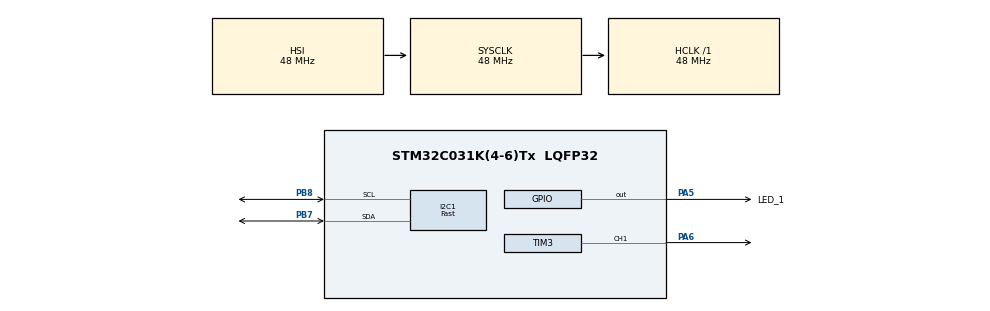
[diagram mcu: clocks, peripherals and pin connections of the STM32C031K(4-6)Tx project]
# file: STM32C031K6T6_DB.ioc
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Dma.Request0=TIM3_CH1
Dma.TIM3_CH1.0.Direction=DMA_PERIPH_TO_MEMORY
Dma.TIM3_CH1.0.EventEnable=DISABLE
Dma.TIM3_CH1.0.Instance=DMA1_Channel1
Dma.TIM3_CH1.0.MemDataAlignment=DMA_MDATAALIGN_HALFWORD
Dma.TIM3_CH1.0.MemInc=DMA_MINC_ENABLE
Dma.TIM3_CH1.0.Mode=DMA_NORMAL
Dma.TIM3_CH1.0.PeriphDataAlignment=DMA_PDATAALIGN_HALFWORD
Dma.TIM3_CH1.0.PeriphInc=DMA_PINC_DISABLE
Dma.TIM3_CH1.0.Polarity=HAL_DMAMUX_REQ_GEN_RISING
Dma.TIM3_CH1.0.Priority=DMA_PRIORITY_LOW
Dma.TIM3_CH1.0.RequestNumber=1
Dma.TIM3_CH1.0.SignalID=NONE
Dma.TIM3_CH1.0.SyncEnable=DISABLE
Dma.TIM3_CH1.0.SyncPolarity=HAL_DMAMUX_SYNC_NO_EVENT
Dma.TIM3_CH1.0.SyncRequestNumber=1
Dma.TIM3_CH1.0.SyncSignalID=NONE
I2C1.I2C_Speed_Mode=I2C_Fast
I2C1.Timing=0x0090194B
Mcu.Family=STM32C0
Mcu.Name=STM32C031K(4-6)Tx
Mcu.Package=LQFP32
NVIC.DMA1_Channel1_IRQn=true\:0\:0\:false\:false\:true\:false\:true\:true
PA13.Mode=Serial_Wire
PA13.Signal=DEBUG_SWDIO
PA14-BOOT0.Mode=Serial_Wire
PA14-BOOT0.Signal=DEBUG_SWCLK
PA5.GPIO_Label=LED_1
PA5.Signal=GPIO_Output
PA6.Signal=S_TIM3_CH1
PB7.Mode=I2C
PB7.Signal=I2C1_SDA
PB8.Mode=I2C
PB8.Signal=I2C1_SCL
ProjectManager.HeapSize=0x200
ProjectManager.StackSize=0x400
ProjectManager.TargetToolchain=STM32CubeIDE
RCC.ADCFreq_Value=48000000
RCC.AHBFreq_Value=48000000
RCC.CortexFreq_Value=48000000
RCC.EXTERNAL_CLOCK_VALUE=12288000
RCC.HCLKFreq_Value=48000000
RCC.HSE_VALUE=8000000
RCC.HSISYSCLKDivider=RCC_HSI_DIV1
RCC.HSI_VALUE=48000000
RCC.LSE_VALUE=32768
RCC.SYSCLKFreq_VALUE=48000000
SH.S_TIM3_CH1.0=TIM3_CH1,PWM Generation1 CH1
TIM3.Channel-PWM\ Generation1\ CH1=TIM_CHANNEL_1
TIM3.Period=40-1
TIM3.Prescaler=48-1
VP_TIM3_VS_ClockSourceINT.Mode=Internal
board=custom

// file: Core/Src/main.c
/* USER CODE BEGIN Header */
/**
  ******************************************************************************
  * @file           : main.c
  * @brief          : Main program body
  ******************************************************************************
  * @attention
  *
  * Copyright (c) 2025 STMicroelectronics.
  * All rights reserved.
  *
  * This software is licensed under terms that can be found in the LICENSE file
  * in the root directory of this software component.
  * If no LICENSE file comes with this software, it is provided AS-IS.
  *
  ******************************************************************************
  */
/* USER CODE END Header */
#include "main.h"
#include <stdint.h>
#include <stdbool.h>
#include <stdlib.h>
#include <stdio.h>
/* USER CODE BEGIN Includes */
#include "ADS1015_ADS1115.h"
#include "i2c-lcd.h"
#include "SHT31.h"
#include "stdio.h"
/* USER CODE END Includes */

/* USER CODE BEGIN PTD */
float temperature = 0;
static uint8_t fan_speed = 0;
/* USER CODE END PTD */

/* USER CODE BEGIN PD */
#define PWM_OFF  0
#define PWM_25   25
#define PWM_50   50
#define PWM_75   75

#define T_ON_LOW        30.0f   // OFF -> 25 %
#define T_ON_MED        32.0f   // 25 % -> 50 %
#define T_ON_HIGH       35.0f   // 50 % -> 75 %

#define T_OFF_LOW       29.0f   // 25 % -> OFF
#define T_DOWN_TO_LOW   31.0f   // 50 % -> 25 %
#define T_DOWN_TO_MED   34.0f   // 75 % -> 50 %
/* USER CODE END PD */

I2C_HandleTypeDef hi2c1;

TIM_HandleTypeDef htim3;
DMA_HandleTypeDef hdma_tim3_ch1;

/* USER CODE BEGIN PV */
ADS1xx5_I2C i2c;
/* USER CODE END PV */

void SystemClock_Config(void);
static void MX_GPIO_Init(void);
static void MX_DMA_Init(void);
static void MX_I2C1_Init(void);
static void MX_TIM3_Init(void);

/* USER CODE BEGIN 0 */

static void print_fixed(int32_t val, uint8_t frac_digits, char *out, size_t out_len)
{
    int32_t sign = (val < 0) ? -1 : 1; //Decide if num is negative or positive
    uint32_t u = (uint32_t)(sign < 0 ? -val : val); //Create negative or positive version of number
    uint32_t p10 = 1;
    for (uint8_t i = 0; i < frac_digits; ++i) p10 *= 10;

    uint32_t whole = u / p10;
    uint32_t frac  = u % p10;

    if (frac_digits == 0) {
        (void)snprintf(out, out_len, "%s%lu", (sign < 0) ? "-" : "", (unsigned long)whole);
        return;
    }
    char fmt[16];
    (void)snprintf(fmt, sizeof(fmt), "%%s%%lu.%%0%ulu", (unsigned)frac_digits);
    (void)snprintf(out, out_len, fmt, (sign < 0) ? "-" : "", (unsigned long)whole, (unsigned long)frac);
}

static int32_t to_fixed_round(float x, uint8_t frac_digits)
{
    // scale = 10^N
    int32_t scale = 1;
    for (uint8_t i = 0; i < frac_digits; ++i) scale *= 10;

    // Ruční zaokrouhlení bez <math.h>
    float scaled = x * (float)scale;
    if (scaled >= 0.0f) scaled += 0.5f; else scaled -= 0.5f;
    int32_t v = (int32_t)scaled;
    return v;
}

void Fan_Update(void)
{
    float temperature = SHT31_GetTemperature();

    switch (fan_speed)
    {
        case 0: // OFF
            if (temperature >= T_ON_LOW) {
                TIM3->CCR1 = PWM_25;
                lcd_put_cur(0, 15);
                lcd_send_string("L");
                fan_speed = 1;
            }
            break;

        case 1: // LOW (25 %)
            if (temperature >= T_ON_MED) {
                TIM3->CCR1 = PWM_50;
                fan_speed = 2;
            } else if (temperature <= T_OFF_LOW) {
                TIM3->CCR1 = PWM_OFF;
                fan_speed = 0;
            }
            break;

        case 2: // MED (50 %)
            if (temperature >= T_ON_HIGH) {
                TIM3->CCR1 = PWM_75;
                fan_speed = 3;
            } else if (temperature <= T_DOWN_TO_LOW) {
                TIM3->CCR1 = PWM_25;
                fan_speed = 1;
            }
            break;

        case 3: // HIGH (75 %)
            if (temperature <= T_DOWN_TO_MED) {
                TIM3->CCR1 = PWM_50;
                fan_speed = 2;
            }
            break;
    }
}
/* USER CODE END 0 */

int main(void)
{

  /* MCU Configuration--------------------------------------------------------*/

  /* Reset of all peripherals, Initializes the Flash interface and the Systick. */
  HAL_Init();

  /* Configure the system clock */
  SystemClock_Config();

  /* Initialize all configured peripherals */
  MX_GPIO_Init();
  MX_DMA_Init();
  MX_I2C1_Init();
  MX_TIM3_Init();

  HAL_TIM_PWM_Start(&htim3, TIM_CHANNEL_1);
  /* USER CODE BEGIN 2 */
  ADS1115(&i2c, &hi2c1, ADS_ADDR_GND);
  ADSsetGain(&i2c, GAIN_EIGHT);

  TIM3->CCR1 = 0;

  SHT31_Config(SHT31_ADDRESS_A, &hi2c1);

  lcd_init ();
  lcd_put_cur(0, 0);
  lcd_send_string ("PAN");
  lcd_put_cur(1, 0);
  lcd_send_string("TEMNOT");
  HAL_Delay(500);
  lcd_clear();
  /* USER CODE END 2 */

  /* Infinite loop */
  /* USER CODE BEGIN WHILE */
  while (1)
  {
	  /*
	  if(SHT31_GetData(SHT31_Periodic, SHT31_Medium, SHT31_NON_Stretch, SHT31_1) == SHT31_OK)
	  {
		  temperature = SHT31_GetTemperature();
		  char tempStr[16];
		  snprintf(tempStr, sizeof(tempStr), "Temp: %.2f C", temperature);
		  lcd_put_cur(1, 0);
		  lcd_send_string(tempStr);
	  }
	  int16_t adc1 = ADSreadADC_SingleEnded(&i2c, 1);
	  float current = ((float)adc1 * 0.512f) / (32768.0f * 0.1f);
	  char buffer[7];
	  sprintf(buffer, "%.3f", current);
	  lcd_put_cur(0, 0);
	  lcd_send_string(buffer);
	  HAL_Delay(100);
	  //adc2 = ADSreadADC_SingleEnded(&i2c, 2);
	  //adc3 = ADSreadADC_SingleEnded(&i2c, 3);
	  */
	  if(SHT31_GetData(SHT31_Periodic, SHT31_Medium, SHT31_NON_Stretch, SHT31_1) == SHT31_OK)
	  {
		  temperature = SHT31_GetTemperature();
		  char tempStr[16];
		  int32_t t_centi = to_fixed_round(temperature, 2);
		  print_fixed(t_centi, 2, tempStr, sizeof(tempStr));
		  lcd_put_cur(1, 0);
		  lcd_send_string(tempStr);
	  }

	  Fan_Update();

	  int16_t adc1 = ADSreadADC_SingleEnded(&i2c, 1);
	  float current = ((float)adc1 * 0.512f) / (32768.0f * 0.1f);

	  char iStr[16];
	  int32_t i_milli = to_fixed_round(current, 3);   // např. 0.123 A → 123

	  print_fixed(i_milli, 3, iStr, sizeof(iStr));
	  lcd_put_cur(0, 0);
	  lcd_send_string(iStr);
	  HAL_Delay(100);
  }
  /* USER CODE END 3 */
}

void SystemClock_Config(void)
{
  RCC_OscInitTypeDef RCC_OscInitStruct = {0};
  RCC_ClkInitTypeDef RCC_ClkInitStruct = {0};

  __HAL_FLASH_SET_LATENCY(FLASH_LATENCY_1);

  /** Initializes the RCC Oscillators according to the specified parameters
  * in the RCC_OscInitTypeDef structure.
  */
  RCC_OscInitStruct.OscillatorType = RCC_OSCILLATORTYPE_HSI;
  RCC_OscInitStruct.HSIState = RCC_HSI_ON;
  RCC_OscInitStruct.HSIDiv = RCC_HSI_DIV1;
  RCC_OscInitStruct.HSICalibrationValue = RCC_HSICALIBRATION_DEFAULT;
  if (HAL_RCC_OscConfig(&RCC_OscInitStruct) != HAL_OK)
  {
    Error_Handler();
  }

  /** Initializes the CPU, AHB and APB buses clocks
  */
  RCC_ClkInitStruct.ClockType = RCC_CLOCKTYPE_HCLK|RCC_CLOCKTYPE_SYSCLK
                              |RCC_CLOCKTYPE_PCLK1;
  RCC_ClkInitStruct.SYSCLKSource = RCC_SYSCLKSOURCE_HSI;
  RCC_ClkInitStruct.SYSCLKDivider = RCC_SYSCLK_DIV1;
  RCC_ClkInitStruct.AHBCLKDivider = RCC_HCLK_DIV1;
  RCC_ClkInitStruct.APB1CLKDivider = RCC_APB1_DIV1;

  if (HAL_RCC_ClockConfig(&RCC_ClkInitStruct, FLASH_LATENCY_1) != HAL_OK)
  {
    Error_Handler();
  }
}

static void MX_I2C1_Init(void)
{

  hi2c1.Instance = I2C1;
  hi2c1.Init.Timing = 0x0090194B;
  hi2c1.Init.OwnAddress1 = 0;
  hi2c1.Init.AddressingMode = I2C_ADDRESSINGMODE_7BIT;
  hi2c1.Init.DualAddressMode = I2C_DUALADDRESS_DISABLE;
  hi2c1.Init.OwnAddress2 = 0;
  hi2c1.Init.OwnAddress2Masks = I2C_OA2_NOMASK;
  hi2c1.Init.GeneralCallMode = I2C_GENERALCALL_DISABLE;
  hi2c1.Init.NoStretchMode = I2C_NOSTRETCH_DISABLE;
  if (HAL_I2C_Init(&hi2c1) != HAL_OK)
  {
    Error_Handler();
  }

  /** Configure Analogue filter
  */
  if (HAL_I2CEx_ConfigAnalogFilter(&hi2c1, I2C_ANALOGFILTER_ENABLE) != HAL_OK)
  {
    Error_Handler();
  }

  /** Configure Digital filter
  */
  if (HAL_I2CEx_ConfigDigitalFilter(&hi2c1, 0) != HAL_OK)
  {
    Error_Handler();
  }

}

static void MX_TIM3_Init(void)
{

  TIM_ClockConfigTypeDef sClockSourceConfig = {0};
  TIM_MasterConfigTypeDef sMasterConfig = {0};
  TIM_OC_InitTypeDef sConfigOC = {0};

  htim3.Instance = TIM3;
  htim3.Init.Prescaler = 48-1;
  htim3.Init.CounterMode = TIM_COUNTERMODE_UP;
  htim3.Init.Period = 40-1;
  htim3.Init.ClockDivision = TIM_CLOCKDIVISION_DIV1;
  htim3.Init.AutoReloadPreload = TIM_AUTORELOAD_PRELOAD_DISABLE;
  if (HAL_TIM_Base_Init(&htim3) != HAL_OK)
  {
    Error_Handler();
  }
  sClockSourceConfig.ClockSource = TIM_CLOCKSOURCE_INTERNAL;
  if (HAL_TIM_ConfigClockSource(&htim3, &sClockSourceConfig) != HAL_OK)
  {
    Error_Handler();
  }
  if (HAL_TIM_PWM_Init(&htim3) != HAL_OK)
  {
    Error_Handler();
  }
  sMasterConfig.MasterOutputTrigger = TIM_TRGO_RESET;
  sMasterConfig.MasterSlaveMode = TIM_MASTERSLAVEMODE_DISABLE;
  if (HAL_TIMEx_MasterConfigSynchronization(&htim3, &sMasterConfig) != HAL_OK)
  {
    Error_Handler();
  }
  sConfigOC.OCMode = TIM_OCMODE_PWM1;
  sConfigOC.Pulse = 0;
  sConfigOC.OCPolarity = TIM_OCPOLARITY_HIGH;
  sConfigOC.OCFastMode = TIM_OCFAST_DISABLE;
  if (HAL_TIM_PWM_ConfigChannel(&htim3, &sConfigOC, TIM_CHANNEL_1) != HAL_OK)
  {
    Error_Handler();
  }
  HAL_TIM_MspPostInit(&htim3);

}

static void MX_DMA_Init(void)
{

  /* DMA controller clock enable */
  __HAL_RCC_DMA1_CLK_ENABLE();

  /* DMA interrupt init */
  /* DMA1_Channel1_IRQn interrupt configuration */
  HAL_NVIC_SetPriority(DMA1_Channel1_IRQn, 0, 0);
  HAL_NVIC_EnableIRQ(DMA1_Channel1_IRQn);

}

static void MX_GPIO_Init(void)
{
  GPIO_InitTypeDef GPIO_InitStruct = {0};

  /* GPIO Ports Clock Enable */
  __HAL_RCC_GPIOA_CLK_ENABLE();
  __HAL_RCC_GPIOB_CLK_ENABLE();

  /*Configure GPIO pin Output Level */
  HAL_GPIO_WritePin(LED_1_GPIO_Port, LED_1_Pin, GPIO_PIN_RESET);

  /*Configure GPIO pin : LED_1_Pin */
  GPIO_InitStruct.Pin = LED_1_Pin;
  GPIO_InitStruct.Mode = GPIO_MODE_OUTPUT_PP;
  GPIO_InitStruct.Pull = GPIO_NOPULL;
  GPIO_InitStruct.Speed = GPIO_SPEED_FREQ_LOW;
  HAL_GPIO_Init(LED_1_GPIO_Port, &GPIO_InitStruct);

}

void Error_Handler(void)
{
  __disable_irq();
  while (1)
  {
  }
}
